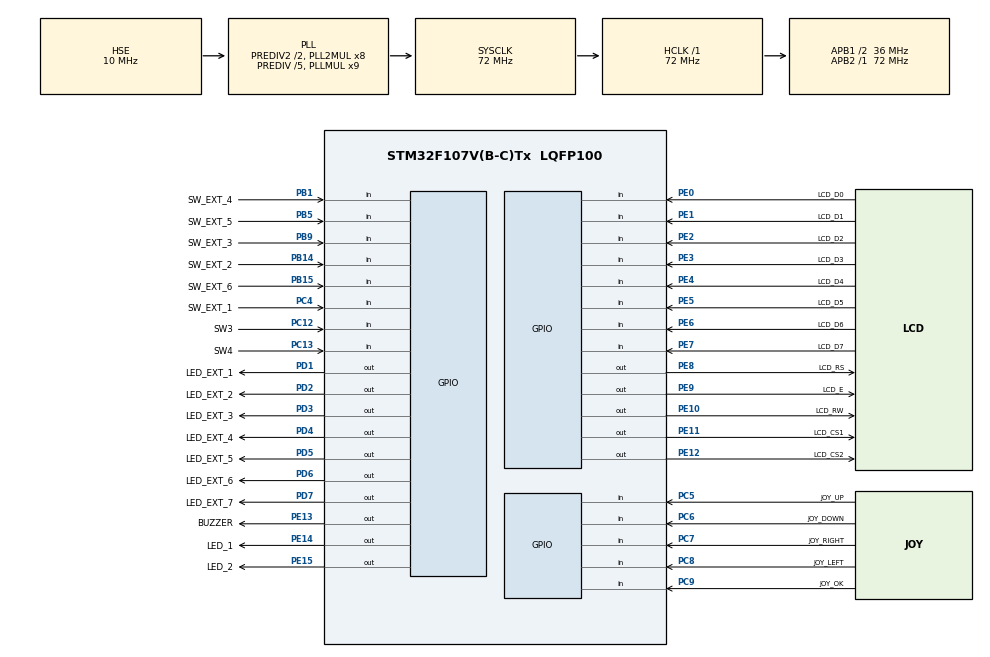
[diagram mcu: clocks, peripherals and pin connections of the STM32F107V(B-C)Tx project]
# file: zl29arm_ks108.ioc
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Mcu.Family=STM32F1
Mcu.Name=STM32F107V(B-C)Tx
Mcu.Package=LQFP100
NVIC.PriorityGroup=NVIC_PRIORITYGROUP_4
NVIC.TIM7_IRQn=true\:0\:0\:false\:false\:true\:true\:true
OSC_IN.Mode=HSE-External-Oscillator
OSC_IN.Signal=RCC_OSC_IN
OSC_OUT.Mode=HSE-External-Oscillator
OSC_OUT.Signal=RCC_OSC_OUT
PB1.GPIO_Label=SW_EXT_4
PB1.Signal=GPIO_Input
PB14.GPIO_Label=SW_EXT_2
PB14.Signal=GPIO_Input
PB15.GPIO_Label=SW_EXT_6
PB15.Signal=GPIO_Input
PB5.GPIO_Label=SW_EXT_5
PB5.Signal=GPIO_Input
PB9.GPIO_Label=SW_EXT_3
PB9.Signal=GPIO_Input
PC12.GPIO_Label=SW3
PC12.Signal=GPIO_Input
PC13-TAMPER-RTC.GPIO_Label=SW4
PC13-TAMPER-RTC.Signal=GPIO_Input
PC4.GPIO_Label=SW_EXT_1
PC4.Signal=GPIO_Input
PC5.GPIO_Label=JOY_UP
PC5.Signal=GPIO_Input
PC6.GPIO_Label=JOY_DOWN
PC6.Signal=GPIO_Input
PC7.GPIO_Label=JOY_RIGHT
PC7.Signal=GPIO_Input
PC8.GPIO_Label=JOY_LEFT
PC8.Signal=GPIO_Input
PC9.GPIO_Label=JOY_OK
PC9.Signal=GPIO_Input
PD1.GPIO_Label=LED_EXT_1
PD1.Signal=GPIO_Output
PD2.GPIO_Label=LED_EXT_2
PD2.Signal=GPIO_Output
PD3.GPIO_Label=LED_EXT_3
PD3.Signal=GPIO_Output
PD4.GPIO_Label=LED_EXT_4
PD4.Signal=GPIO_Output
PD5.GPIO_Label=LED_EXT_5
PD5.Signal=GPIO_Output
PD6.GPIO_Label=LED_EXT_6
PD6.Signal=GPIO_Output
PD7.GPIO_Label=LED_EXT_7
PD7.Signal=GPIO_Output
PE0.GPIO_Label=LCD_D0
PE0.Signal=GPIO_Input
PE1.GPIO_Label=LCD_D1
PE1.GPIO_Mode=GPIO_MODE_INPUT
PE1.GPIO_PuPd=GPIO_NOPULL
PE1.Signal=GPIO_Input
PE10.GPIO_Label=LCD_RW
PE10.Signal=GPIO_Output
PE11.GPIO_Label=LCD_CS1
PE11.Signal=GPIO_Output
PE12.GPIO_Label=LCD_CS2
PE12.Signal=GPIO_Output
PE13.GPIO_Label=BUZZER
PE13.GPIO_ModeDefaultOutputPP=GPIO_MODE_OUTPUT_PP
PE13.Signal=GPIO_Output
PE14.GPIO_Label=LED_1
PE14.GPIO_ModeDefaultOutputPP=GPIO_MODE_OUTPUT_OD
PE14.PinState=GPIO_PIN_SET
PE14.Signal=GPIO_Output
PE15.GPIO_Label=LED_2
PE15.GPIO_ModeDefaultOutputPP=GPIO_MODE_OUTPUT_OD
PE15.PinState=GPIO_PIN_SET
PE15.Signal=GPIO_Output
PE2.GPIO_Label=LCD_D2
PE2.GPIO_Mode=GPIO_MODE_INPUT
PE2.GPIO_PuPd=GPIO_NOPULL
PE2.Signal=GPIO_Input
PE3.GPIO_Label=LCD_D3
PE3.GPIO_Mode=GPIO_MODE_INPUT
PE3.GPIO_PuPd=GPIO_NOPULL
PE3.Signal=GPIO_Input
PE4.GPIO_Label=LCD_D4
PE4.GPIO_Mode=GPIO_MODE_INPUT
PE4.GPIO_PuPd=GPIO_NOPULL
PE4.Signal=GPIO_Input
PE5.GPIO_Label=LCD_D5
PE5.GPIO_Mode=GPIO_MODE_INPUT
PE5.GPIO_PuPd=GPIO_NOPULL
PE5.Signal=GPIO_Input
PE6.GPIO_Label=LCD_D6
PE6.GPIO_Mode=GPIO_MODE_INPUT
PE6.GPIO_PuPd=GPIO_NOPULL
PE6.Signal=GPIO_Input
PE7.GPIO_Label=LCD_D7
PE7.GPIO_Mode=GPIO_MODE_INPUT
PE7.GPIO_PuPd=GPIO_NOPULL
PE7.Signal=GPIO_Input
PE8.GPIO_Label=LCD_RS
PE8.Signal=GPIO_Output
PE9.GPIO_Label=LCD_E
PE9.Signal=GPIO_Output
ProjectManager.HeapSize=0x200
ProjectManager.StackSize=0x400
ProjectManager.TargetToolchain=MDK-ARM V5.32
RCC.AHBFreq_Value=72000000
RCC.APB1CLKDivider=RCC_HCLK_DIV2
RCC.APB1Freq_Value=36000000
RCC.APB1TimFreq_Value=72000000
RCC.APB2Freq_Value=72000000
RCC.APB2TimFreq_Value=72000000
RCC.HCLKFreq_Value=72000000
RCC.HSEDivPLL=RCC_HSE_PREDIV_DIV5
RCC.HSE_VALUE=10000000
RCC.PLLMUL=RCC_PLL_MUL9
RCC.PLLSourceVirtual=RCC_PLLSOURCE_HSE
RCC.Prediv1Source=RCC_PREDIV1_SOURCE_PLL2
RCC.Prediv2=RCC_HSE_PREDIV2_DIV2
RCC.SYSCLKFreq_VALUE=72000000
RCC.SYSCLKSource=RCC_SYSCLKSOURCE_PLLCLK
RCC.USBFreq_Value=48000000
TIM7.Period=1000
TIM7.Prescaler=7200
VP_SYS_VS_ND.Mode=No_Debug
VP_TIM7_VS_ClockSourceINT.Mode=Enable_Timer
board=zl29arm

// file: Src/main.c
/* USER CODE BEGIN Header */
/**
  ******************************************************************************
  * @file           : main.c
  * @brief          : Main program body
  ******************************************************************************
  * @attention
  *
  * <h2><center>&copy; Copyright (c) 2021 STMicroelectronics.
  * All rights reserved.</center></h2>
  *
  * This software component is licensed by ST under BSD 3-Clause license,
  * the "License"; You may not use this file except in compliance with the
  * License. You may obtain a copy of the License at:
  *                        opensource.org/licenses/BSD-3-Clause
  *
  ******************************************************************************
  */
/* USER CODE END Header */
#include "main.h"
#include "tim.h"
#include "gpio.h"
#include "glcd.h"
#include "math.h"
#include <stdio.h>
#include <math.h>

void SystemClock_Config(void);

int main(void)
{

  /* MCU Configuration--------------------------------------------------------*/

  /* Reset of all peripherals, Initializes the Flash interface and the Systick. */
  HAL_Init();

  /* Configure the system clock */
  SystemClock_Config();

  /* Initialize all configured peripherals */
  MX_GPIO_Init();
  MX_TIM7_Init();
  /* USER CODE BEGIN 2 */
  glcd_Initialize();
  glcd_ClearScreen();

  /*
  for (uint8_t y = 0; y < GLCD_HEIGHT; y++)
    for (uint8_t x = 0; x < GLCD_WIDTH; x++)
    {
        glcd_PutPixel(x, y, 1);
        //HAL_Delay(1);
    }

  for (uint8_t y = 0; y < GLCD_HEIGHT; y++)
    for (uint8_t x = 0; x < GLCD_WIDTH; x++)
    {
        glcd_PutPixel(x, y, 0);
        //HAL_Delay(1);
    }

  for (uint8_t z =0; z < 64; z++)
  {
    glcd_WriteCommand(0, GLCD_CMD_SET_LINE | z);
    glcd_WriteCommand(1, GLCD_CMD_SET_LINE | z);
    HAL_Delay(100);
  }
  */
	uint8_t wsp_x = 5;
	uint8_t wsp_y = 10;
	uint8_t dlug = 37;

//  for(uint8_t i=0; i<dlug; i++){
//  glcd_PutPixel(i+wsp_x, wsp_y, 1); };

//	for(uint8_t i=0; i<dlug; i++){
//  glcd_PutPixel(i+wsp_x, wsp_y, 1);
//	glcd_PutPixel(i+wsp_x, wsp_y+dlug, 1);
//	glcd_PutPixel(wsp_x, i+wsp_y, 1);
//	glcd_PutPixel(wsp_x+dlug-1, i+wsp_y+1, 1);
//	};
//
//	for(uint8_t i=0; i<dlug; i++){
//  glcd_PutPixel(i+wsp_x, wsp_y, 1);
//	};
//	for(uint8_t i=0; i<ceil(dlug/(2.0)); i++){
//		glcd_PutPixel(wsp_x+i, wsp_y+i, 1);
//		glcd_PutPixel(wsp_x+i, dlug+wsp_y-i, 1);
//	};
//
	uint8_t r=5;
	uint8_t f = 1 - r;
	uint8_t ddF_x = 1;
	uint8_t ddF_y = -2 * r;
	uint8_t x = 0;
	uint8_t y = r;

	glcd_PutPixel(wsp_x, wsp_y+r, 1);
	glcd_PutPixel(wsp_x, wsp_y-r, 1);
	glcd_PutPixel(wsp_x+r, wsp_y, 1);
	glcd_PutPixel(wsp_x-r, wsp_y, 1);

	while (x<y) {
		if (f >= 0) {
			y--;
			ddF_y += 2;
			f += ddF_y;
		}
		x++;
		ddF_x += 2;
		f += ddF_x;

		glcd_PutPixel(wsp_x + x, wsp_y + y, 1);
		glcd_PutPixel(wsp_x - x, wsp_y + y, 1);
		glcd_PutPixel(wsp_x + x, wsp_y - y, 1);
		glcd_PutPixel(wsp_x - x, wsp_y - y, 1);

		glcd_PutPixel(wsp_x + y, wsp_y + x, 1);
		glcd_PutPixel(wsp_x - y, wsp_y + x, 1);
		glcd_PutPixel(wsp_x + y, wsp_y - x, 1);
		glcd_PutPixel(wsp_x - y, wsp_y - x, 1);

	}

  //glcd_PutPixel(20, 20, 1);

//  glcd_GoTo(0, 0);
//  glcd_PutChar('A');
//  glcd_GoTo(10, 1);
//  glcd_PutChar('B');
//  glcd_GoTo(20, 2);
//  glcd_PutChar('C');
//  glcd_GoTo(30, 3);
//  glcd_PutChar('D');
//  glcd_GoTo(40, 4);
//  glcd_PutChar('E');
//  glcd_GoTo(50, 5);
//  glcd_PutChar('F');
//  glcd_GoTo(60, 6);
//  glcd_PutChar('G');
//  glcd_GoTo(70, 7);
//  glcd_PutChar('H');

//  glcd_GoTo(80, 0);
//  glcd_PutChar('I');
//  glcd_GoTo(90, 1);
//  glcd_PutChar('J');
//  glcd_GoTo(100, 2);
//  glcd_PutChar('K');
//  glcd_GoTo(110, 3);
//  glcd_PutChar('L');
//  glcd_GoTo(120, 4);
//  glcd_PutChar('M');

  uint8_t z = 0;
  for (;;)
  {
    glcd_WriteCommand(0, GLCD_CMD_SET_LINE | (z & 0x3F));
//    glcd_WriteCommand(1, GLCD_CMD_SET_LINE | (z & 0x3F));
//    HAL_Delay(200);
//    z++;
  }

/* USER CODE END 2 */

  /* Infinite loop */
  /* USER CODE BEGIN WHILE */

  //glcd_SetDataPortAsInput();
  //GPIOE->ODR &= 0xFF00;
  //GPIOE->ODR |= 0x0055;

  while (1)
  {
    /* USER CODE END WHILE */

    /* USER CODE BEGIN 3 */
    HAL_GPIO_TogglePin(LED_1_GPIO_Port, LED_1_Pin);

    for (uint16_t i = 0; i < 100; i++)
      HAL_TIM7_Delay_us(1000);

    if ((glcd_ReadStatus(0) & GLCD_STATUS_BUSY) == 0)
        HAL_GPIO_WritePin(LED_2_GPIO_Port, LED_2_Pin, GPIO_PIN_RESET);
    else
        HAL_GPIO_WritePin(LED_2_GPIO_Port, LED_2_Pin, GPIO_PIN_SET);

  }
  /* USER CODE END 3 */
}

void SystemClock_Config(void)
{
  RCC_OscInitTypeDef RCC_OscInitStruct = {0};
  RCC_ClkInitTypeDef RCC_ClkInitStruct = {0};

  /** Initializes the RCC Oscillators according to the specified parameters
  * in the RCC_OscInitTypeDef structure.
  */
  RCC_OscInitStruct.OscillatorType = RCC_OSCILLATORTYPE_HSE;
  RCC_OscInitStruct.HSEState = RCC_HSE_ON;
  RCC_OscInitStruct.HSEPredivValue = RCC_HSE_PREDIV_DIV5;
  RCC_OscInitStruct.HSIState = RCC_HSI_ON;
  RCC_OscInitStruct.Prediv1Source = RCC_PREDIV1_SOURCE_PLL2;
  RCC_OscInitStruct.PLL.PLLState = RCC_PLL_ON;
  RCC_OscInitStruct.PLL.PLLSource = RCC_PLLSOURCE_HSE;
  RCC_OscInitStruct.PLL.PLLMUL = RCC_PLL_MUL9;
  RCC_OscInitStruct.PLL2.PLL2State = RCC_PLL2_ON;
  RCC_OscInitStruct.PLL2.PLL2MUL = RCC_PLL2_MUL8;
  RCC_OscInitStruct.PLL2.HSEPrediv2Value = RCC_HSE_PREDIV2_DIV2;
  if (HAL_RCC_OscConfig(&RCC_OscInitStruct) != HAL_OK)
  {
    Error_Handler();
  }
  /** Initializes the CPU, AHB and APB buses clocks
  */
  RCC_ClkInitStruct.ClockType = RCC_CLOCKTYPE_HCLK|RCC_CLOCKTYPE_SYSCLK
                              |RCC_CLOCKTYPE_PCLK1|RCC_CLOCKTYPE_PCLK2;
  RCC_ClkInitStruct.SYSCLKSource = RCC_SYSCLKSOURCE_PLLCLK;
  RCC_ClkInitStruct.AHBCLKDivider = RCC_SYSCLK_DIV1;
  RCC_ClkInitStruct.APB1CLKDivider = RCC_HCLK_DIV2;
  RCC_ClkInitStruct.APB2CLKDivider = RCC_HCLK_DIV1;

  if (HAL_RCC_ClockConfig(&RCC_ClkInitStruct, FLASH_LATENCY_2) != HAL_OK)
  {
    Error_Handler();
  }
  /** Configure the Systick interrupt time
  */
  __HAL_RCC_PLLI2S_ENABLE();
}

void Error_Handler(void)
{
  __disable_irq();
  while (1)
  {
  }
}

/************************ (C) COPYRIGHT STMicroelectronics *****END OF FILE****/
